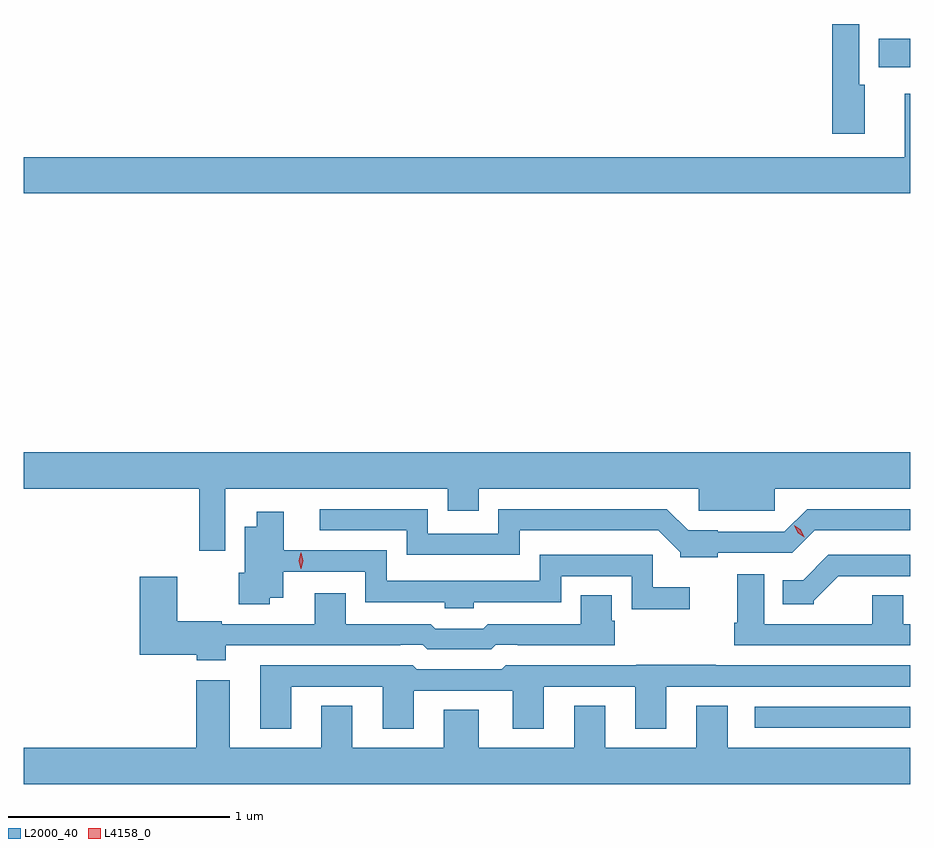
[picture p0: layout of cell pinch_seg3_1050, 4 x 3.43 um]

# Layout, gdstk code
import gdstk
lib = gdstk.Library(unit=1e-6, precision=1e-09)
def R(c, l, rs):  # rectangles x0, y0, x1, y1
    for r in rs: c.add(gdstk.rectangle(r[:2], r[2:], *l))
def P(c, l, *ps):  # polygons
    for p in ps: c.add(gdstk.Polygon(p, *l))
L2000_40 = (2000, 40)
L4158_0 = (4158, 0)

pinch_seg3_1050 = lib.new_cell('pinch_seg3_1050')
R(pinch_seg3_1050, L2000_40, [(365.907,738.465,366.61,738.561), (366.468,741.446,366.61,741.574)])
P(pinch_seg3_1050, L2000_40, [(366.403,741.366),(366.379,741.366),(366.379,741.64),(366.257,741.64),(366.257,741.144),(366.403,741.144)],
  [(366.61,741.325),(366.584,741.325),(366.584,741.04),(362.61,741.04),(362.61,740.876),(366.61,740.876)],
  [(363.52,739.544),(364.523,739.544),(364.523,739.445),(364.663,739.445),(364.663,739.544),(365.655,739.544),(365.655,739.445),(365.998,739.445),(365.998,739.544),(366.61,739.544),(366.61,739.708),(362.61,739.708),(362.61,739.544),(363.403,739.544),(363.403,739.263),(363.52,739.263)],
  [(365.742,739.254),(366.076,739.254),(366.178,739.356),(366.61,739.356),(366.61,739.452),(366.144,739.452),(366.042,739.35),(365.742,739.35),(365.742,739.356),(365.607,739.356),(365.511,739.452),(364.752,739.452),(364.752,739.341),(364.434,739.341),(364.434,739.452),(363.945,739.452),(363.945,739.356),(364.338,739.356),(364.338,739.245),(364.848,739.245),(364.848,739.356),(365.472,739.356),(365.571,739.257),(365.571,739.235),(365.742,739.235)],
  [(365.614,739.099),(365.448,739.099),(365.448,739.245),(364.938,739.245),(364.938,739.128),(364.248,739.128),(364.248,739.266),(363.784,739.266),(363.784,739.441),(363.662,739.441),(363.662,739.372),(363.608,739.372),(363.608,739.164),(363.581,739.164),(363.581,739.022),(363.721,739.022),(363.721,739.052),(363.782,739.052),(363.782,739.17),(364.152,739.17),(364.152,739.032),(364.509,739.032),(364.509,739.005),(364.641,739.005),(364.641,739.032),(365.034,739.032),(365.034,739.149),(365.352,739.149),(365.352,739),(365.614,739)],
  [(366.174,739.038),(366.284,739.148),(366.388,739.148),(366.388,739.149),(366.61,739.149),(366.61,739.245),(366.24,739.245),(366.126,739.131),(366.035,739.131),(366.035,739.022),(366.174,739.022)],
  [(366.61,738.933),(366.577,738.933),(366.577,739.064),(366.437,739.064),(366.437,738.933),(365.95,738.933),(365.95,739.159),(365.828,739.159),(365.828,738.94),(365.816,738.94),(365.816,738.837),(366.61,738.837)],
  [(363.521,738.837),(364.31,738.837),(364.31,738.84),(364.41,738.84),(364.431,738.819),(364.719,738.819),(364.74,738.84),(364.84,738.84),(364.84,738.837),(365.276,738.837),(365.276,738.948),(365.263,738.948),(365.263,739.064),(365.123,739.064),(365.123,738.933),(364.704,738.933),(364.683,738.912),(364.467,738.912),(364.446,738.933),(364.063,738.933),(364.063,739.072),(363.923,739.072),(363.923,738.933),(363.504,738.933),(363.504,738.947),(363.304,738.947),(363.304,739.147),(363.134,739.147),(363.134,738.794),(363.39,738.794),(363.39,738.77),(363.521,738.77)],
  [(363.817,738.651),(364.229,738.651),(364.229,738.461),(364.369,738.461),(364.369,738.633),(364.817,738.633),(364.817,738.461),(364.957,738.461),(364.957,738.651),(365.369,738.651),(365.369,738.461),(365.509,738.461),(365.509,738.651),(366.61,738.651),(366.61,738.747),(365.732,738.747),(365.732,738.75),(365.373,738.75),(365.373,738.747),(364.785,738.747),(364.767,738.729),(364.383,738.729),(364.365,738.747),(363.677,738.747),(363.677,738.461),(363.817,738.461)],
  [(366.61,738.376),(365.785,738.376),(365.785,738.566),(365.645,738.566),(365.645,738.376),(365.233,738.376),(365.233,738.566),(365.093,738.566),(365.093,738.376),(364.663,738.376),(364.663,738.548),(364.505,738.548),(364.505,738.376),(364.093,738.376),(364.093,738.566),(363.953,738.566),(363.953,738.376),(363.541,738.376),(363.541,738.679),(363.389,738.679),(363.389,738.376),(362.61,738.376),(362.61,738.212),(366.61,738.212)])
P(pinch_seg3_1050, L4158_0, [(366.132,739.324),(366.101,739.345),(366.085,739.378),(366.085,739.378),(366.086,739.378),(366.116,739.358),(366.132,739.324),(366.132,739.324)],
  [(363.861,739.182),(363.861,739.182),(363.851,739.218),(363.861,739.254),(363.861,739.254),(363.862,739.254),(363.871,739.218),(363.862,739.182)])

lib.write_gds('pinch_seg3_1050.gds')
